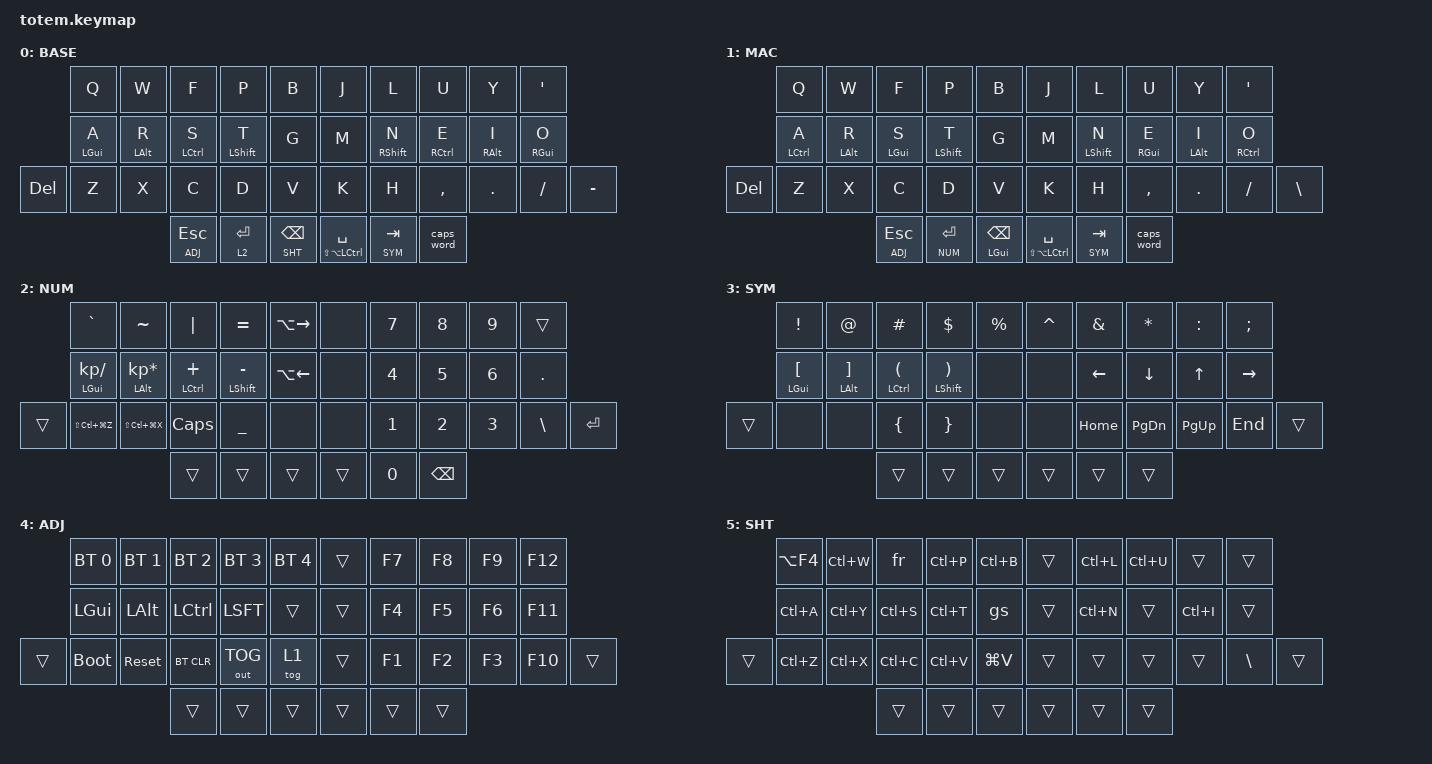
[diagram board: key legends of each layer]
//
//                                                        ▀▀▀▀▀     ▀▀▀▀▀          ▀▀█▀▀
//                                                        ▄▀▀▀▄  ▄  ▄▀▀▀▄  ▄  ▄▀▀▀▄  █  ▄▀▀▀▄
//                                                        █   █  █  █   █  █  █   █  █  █   █
//                                                         ▀▀▀   █   ▀▀▀   █   ▀▀▀   ▀   ▀▀▀
//                                                               █      ▄▄▄█▄▄▄    █   █  
//                                                               ▀      █  █  █     █▄█
//                                                             ▀▀▀▀▀    █  █  █      ▀
//                                                                      ▀  ▀  ▀
//
// ▄▄▄▄▄▄▄▄▄▄▄▄▄▄▄▄▄▄▄▄▄▄▄▄▄▄▄▄▄▄▄▄▄▄▄▄▄▄▄▄▄▄▄▄▄▄▄▄▄▄▄▄▄▄▄▄▄▄▄▄▄▄▄▄▄▄▄▄▄▄▄▄▄▄▄▄▄▄▄▄▄▄▄▄▄▄▄▄▄▄▄▄▄▄▄▄▄▄▄▄▄▄▄▄▄▄▄▄▄▄▄▄▄▄▄▄▄▄▄▄▄▄▄▄▄▄▄▄▄▄▄▄▄▄▄▄▄▄▄▄▄▄▄▄▄▄▄▄▄

#include <behaviors.dtsi>
#include <dt-bindings/zmk/bt.h>
#include <dt-bindings/zmk/keys.h>
#include <dt-bindings/zmk/outputs.h>

#define BASE 0
#define MAC 1
#define NUM  2
#define SYM  3
#define ADJ  4
#define SHT 5

&mt {
    flavor = "tap-preferred";
    tapping-term-ms = <200>;
    quick-tap-ms = <125>;
};

/ {
    ht: hold-tap {
        compatible = "zmk,behavior-hold-tap";
        label = "hold_tap";
        #binding-cells = <2>;
        flavor = "tap-preferred";
        tapping-term-ms = <200>;
        quick-tap-ms = <125>;
        bindings = <&kp>, <&kp>;
    };

    ltq: layer_tap_quick {
        compatible = "zmk,behavior-hold-tap";
        label = "LAYER_TAP_QUICK";
        #binding-cells = <2>;
        flavor = "balanced";
        tapping-term-ms = <200>;
        quick-tap-ms = <175>;
        bindings = <&mo>, <&kp>;
    };

    meh: meh_kp {
        compatible = "zmk,behavior-hold-tap";
        label = "MEH_KP";
        #binding-cells = <2>;
        flavor = "tap-preferred";
        tapping-term-ms = <200>;
        quick-tap-ms = <175>;
        bindings = <&sk>, <&kp>;
    };

    //tap dance

    gs: tap_dance_0 {
        compatible = "zmk,behavior-tap-dance";
        label = "GREENSHOT";
        #binding-cells = <0>;
        tapping-term-ms = <200>;
        bindings = <&kp PSCRN>, <&kp LA(PSCRN)>;
    };

    fr: tap_dance_1 {
        compatible = "zmk,behavior-tap-dance";
        label = "FIND_REPLACE";
        #binding-cells = <0>;
        tapping-term-ms = <200>;
        bindings = <&kp LC(F)>, <&kp LC(H)>;
    };

    td_lt: tap_dance_layer_tap {
        compatible = "zmk,behavior-tap-dance";
        #binding-cells = <0>;
        tapping-term-ms = <200>;
        bindings = <&lt NUM RET>, <&kp LCTRL>;
    };

    combos {
        compatible = "zmk,combos";

        combo_esc {
            timeout-ms = <50>;
            key-positions = <0 1>;
            bindings = <&kp ESC>;
        };

        combo_tab {
            timeout-ms = <50>;
            key-positions = <10 11>;
            bindings = <&kp TAB>;
        };

        combo_del {
            timeout-ms = <50>;
            key-positions = <21 22>;
            bindings = <&kp DEL>;
        };

        combo_space {
            timeout-ms = <50>;
            key-positions = <23 24>;
            bindings = <&kp SPACE>;
        };

        combo_capsWord {
            timeout-ms = <50>;
            key-positions = <10 19>;
            bindings = <&caps_word>;
        };
    };

    behaviors {
    };

    keymap {
        compatible = "zmk,keymap";

        // ▄▄▄▄▄▄▄▄▄▄▄▄▄▄▄▄▄▄▄▄▄▄▄▄▄▄▄▄▄▄▄▄▄▄▄▄▄▄▄▄▄▄▄▄▄▄▄▄▄▄▄▄▄▄▄▄▄▄▄▄▄▄▄▄▄▄▄▄▄▄▄▄▄▄▄▄▄▄▄▄▄▄▄▄▄▄▄▄▄▄▄▄▄▄▄▄▄▄▄▄▄▄▄▄▄▄▄▄▄▄▄▄▄▄▄▄▄▄▄▄▄▄▄▄▄▄▄▄▄▄▄▄▄▄▄▄▄▄▄▄▄▄▄▄▄▄▄▄▄

        base_layer {
            // ┏━━━━━━━━━━━━━━━━━━━━━━━━━━━━━━━━━━━━━━━┓

            label = "BASE";

            // ┗━━━━━━━━━━━━━━━━━━━━━━━━━━━━━━━━━━━━━━━┛
            //             ┏━━━━━━━━━━━┳━━━━━━━━━━━┳━━━━━━━━━━━┳━━━━━━━━━━━┳━━━━━━━━━━━┓   ┏━━━━━━━━━━━┳━━━━━━━━━━━┳━━━━━━━━━━━┳━━━━━━━━━━━┳━━━━━━━━━━━┓
            //             ┃     Q     ┃     W     ┃     F     ┃     P     ┃     B     ┃   ┃     J     ┃     L     ┃     U     ┃     Y     ┃     '     ┃
            //             ┣━━━━━━━━━━━╋━━━━━━━━━━━╋━━━━━━━━━━━╋━━━━━━━━━━━╋━━━━━━━━━━━┫   ┣━━━━━━━━━━━╋━━━━━━━━━━━╋━━━━━━━━━━━╋━━━━━━━━━━━╋━━━━━━━━━━━┫
            //             ┃     A     ┃     R     ┃     S     ┃     T     ┃     G     ┃   ┃     M     ┃     N     ┃     E     ┃     I     ┃     O     ┃
            // ┏━━━━━━━━━━━╋━━━━━━━━━━━╋━━━━━━━━━━━╋━━━━━━━━━━━╋━━━━━━━━━━━╋━━━━━━━━━━━┫   ┣━━━━━━━━━━━╋━━━━━━━━━━━╋━━━━━━━━━━━╋━━━━━━━━━━━╋━━━━━━━━━━━╋━━━━━━━━━━━┓
            // ┃   DEL     ┃     Z     ┃     X     ┃     C     ┃     D     ┃     V     ┃   ┃     K     ┃     H     ┃     ,     ┃     .     ┃     /     ┃     \     ┃
            // ┗━━━━━━━━━━━┻━━━━━━━━━━━┻━━━━━━━━━━━╋━━━━━━━━━━━╋━━━━━━━━━━━╋━━━━━━━━━━━┫   ┣━━━━━━━━━━━╋━━━━━━━━━━━╋━━━━━━━━━━━╋━━━━━━━━━━━┻━━━━━━━━━━━┻━━━━━━━━━━━┛
            //                                     ┃    ESC    ┃    ENTER  ┃    BSPC   ┃   ┃   SPACE   ┃    TAB    ┃  CapsWord ┃
            //                                     ┗━━━━━━━━━━━┻━━━━━━━━━━━┻━━━━━━━━━━━┛   ┗━━━━━━━━━━━┻━━━━━━━━━━━┻━━━━━━━━━━━┛

            bindings = <
         &kp Q           &kp W           &kp F        &kp P             &kp B            &kp J                     &kp L              &kp U        &kp Y            &kp SQT
         &ht LEFT_GUI A  &ht LEFT_ALT R  &ht LCTRL S  &ht LEFT_SHIFT T  &kp G            &kp M                     &ht RIGHT_SHIFT N  &ht RCTRL E  &ht RIGHT_ALT I  &ht RIGHT_GUI O
&kp DEL  &kp Z           &kp X           &kp C        &kp D             &kp V            &kp K                     &kp H              &kp COMMA    &kp DOT          &kp FSLH         &kp MINUS
                                         &lt ADJ ESC  &lt 2 RET         &ltq SHT BSPC    &meh LS(LA(LCTRL)) SPACE  &lt SYM TAB        &caps_word
            >;
        };

        // ▄▄▄▄▄▄▄▄▄▄▄▄▄▄▄▄▄▄▄▄▄▄▄▄▄▄▄▄▄▄▄▄▄▄▄▄▄▄▄▄▄▄▄▄▄▄▄▄▄▄▄▄▄▄▄▄▄▄▄▄▄▄▄▄▄▄▄▄▄▄▄▄▄▄▄▄▄▄▄▄▄▄▄▄▄▄▄▄▄▄▄▄▄▄▄▄▄▄▄▄▄▄▄▄▄▄▄▄▄▄▄▄▄▄▄▄▄▄▄▄▄▄▄▄▄▄▄▄▄▄▄▄▄▄▄▄▄▄▄▄▄▄▄▄▄▄▄▄▄

        mac_layer {
            // ┏━━━━━━━━━━━━━━━━━━━━━━━━━━━━━━━━━━━━━━━┓

            label = "MAC";

            // ┗━━━━━━━━━━━━━━━━━━━━━━━━━━━━━━━━━━━━━━━┛
            //             ┏━━━━━━━━━━━┳━━━━━━━━━━━┳━━━━━━━━━━━┳━━━━━━━━━━━┳━━━━━━━━━━━┓   ┏━━━━━━━━━━━┳━━━━━━━━━━━┳━━━━━━━━━━━┳━━━━━━━━━━━┳━━━━━━━━━━━┓
            //             ┃     Q     ┃     W     ┃     F     ┃     P     ┃     B     ┃   ┃     J     ┃     L     ┃     U     ┃     Y     ┃     '     ┃
            //             ┣━━━━━━━━━━━╋━━━━━━━━━━━╋━━━━━━━━━━━╋━━━━━━━━━━━╋━━━━━━━━━━━┫   ┣━━━━━━━━━━━╋━━━━━━━━━━━╋━━━━━━━━━━━╋━━━━━━━━━━━╋━━━━━━━━━━━┫
            //             ┃     A     ┃     R     ┃     S     ┃     T     ┃     G     ┃   ┃     M     ┃     N     ┃     E     ┃     I     ┃     O     ┃
            // ┏━━━━━━━━━━━╋━━━━━━━━━━━╋━━━━━━━━━━━╋━━━━━━━━━━━╋━━━━━━━━━━━╋━━━━━━━━━━━┫   ┣━━━━━━━━━━━╋━━━━━━━━━━━╋━━━━━━━━━━━╋━━━━━━━━━━━╋━━━━━━━━━━━╋━━━━━━━━━━━┓
            // ┃   DEL     ┃     Z     ┃     X     ┃     C     ┃     D     ┃     V     ┃   ┃     K     ┃     H     ┃     ,     ┃     .     ┃     /     ┃     \     ┃
            // ┗━━━━━━━━━━━┻━━━━━━━━━━━┻━━━━━━━━━━━╋━━━━━━━━━━━╋━━━━━━━━━━━╋━━━━━━━━━━━┫   ┣━━━━━━━━━━━╋━━━━━━━━━━━╋━━━━━━━━━━━╋━━━━━━━━━━━┻━━━━━━━━━━━┻━━━━━━━━━━━┛
            //                                     ┃    ESC    ┃    ENTER  ┃    BSPC   ┃   ┃   SPACE   ┃   TAB     ┃  CapsWord ┃     
            //                                     ┗━━━━━━━━━━━┻━━━━━━━━━━━┻━━━━━━━━━━━┛   ┗━━━━━━━━━━━┻━━━━━━━━━━━┻━━━━━━━━━━━┛

            bindings = <
         &kp Q        &kp W       &kp F        &kp P         &kp B            &kp J                     &kp L         &kp U       &kp Y       &kp SQT
         &mt LCTRL A  &mt LALT R  &mt LGUI S   &mt LSHIFT T  &kp G            &kp M                     &mt LSHIFT N  &mt RGUI E  &mt LALT I  &mt RCTRL O
&kp DEL  &kp Z        &kp X       &kp C        &kp D         &kp V            &kp K                     &kp H         &kp COMMA   &kp DOT     &kp FSLH     &kp BSLH
                                  &lt ADJ ESC  &lt NUM RET   &mt LGUI BSPC    &meh LS(LA(LCTRL)) SPACE  &lt SYM TAB   &caps_word
            >;
        };

        // ▄▄▄▄▄▄▄▄▄▄▄▄▄▄▄▄▄▄▄▄▄▄▄▄▄▄▄▄▄▄▄▄▄▄▄▄▄▄▄▄▄▄▄▄▄▄▄▄▄▄▄▄▄▄▄▄▄▄▄▄▄▄▄▄▄▄▄▄▄▄▄▄▄▄▄▄▄▄▄▄▄▄▄▄▄▄▄▄▄▄▄▄▄▄▄▄▄▄▄▄▄▄▄▄▄▄▄▄▄▄▄▄▄▄▄▄▄▄▄▄▄▄▄▄▄▄▄▄▄▄▄▄▄▄▄▄▄▄▄▄▄▄▄▄▄▄▄▄▄

        num_layer {
            // ┏━━━━━━━━━━━━━━━━━━━━━━━━━━━━━━━━━━━━━━━┓

            label = "NUM";

            // ┗━━━━━━━━━━━━━━━━━━━━━━━━━━━━━━━━━━━━━━━┛

            bindings = <
        &kp GRAVE           &kp TILDE             &kp PIPE        &kp EQUAL         &kp LA(RIGHT)    &none   &kp N7  &kp N8         &kp N9  &trans
        &ht LGUI KP_DIVIDE  &ht LALT KP_MULTIPLY  &ht LCTRL PLUS  &ht LSHIFT MINUS  &kp LA(LEFT)     &none   &kp N4  &kp N5         &kp N6  &kp DOT
&trans  &kp LS(LC(LG(Z)))   &kp LS(LC(LG(X)))     &kp CAPS        &kp UNDER         &none            &none   &kp N1  &kp N2         &kp N3  &kp BACKSLASH  &kp RET
                                                  &trans          &trans            &trans           &trans  &kp N0  &kp BACKSPACE
            >;
        };

        // ▄▄▄▄▄▄▄▄▄▄▄▄▄▄▄▄▄▄▄▄▄▄▄▄▄▄▄▄▄▄▄▄▄▄▄▄▄▄▄▄▄▄▄▄▄▄▄▄▄▄▄▄▄▄▄▄▄▄▄▄▄▄▄▄▄▄▄▄▄▄▄▄▄▄▄▄▄▄▄▄▄▄▄▄▄▄▄▄▄▄▄▄▄▄▄▄▄▄▄▄▄▄▄▄▄▄▄▄▄▄▄▄▄▄▄▄▄▄▄▄▄▄▄▄▄▄▄▄▄▄▄▄▄▄▄▄▄▄▄▄▄▄▄▄▄▄▄▄▄

        sym_layer {
            // ┏━━━━━━━━━━━━━━━━━━━━━━━━━━━━━━━━━━━━━━━┓

            label = "SYM";

            // ┗━━━━━━━━━━━━━━━━━━━━━━━━━━━━━━━━━━━━━━━┛

            bindings = <
        &kp EXCL               &kp AT                  &kp HASH                    &kp DLLR                      &kp PRCNT    &kp CARET  &kp AMPS        &kp ASTRK       &kp COLON     &kp SEMI
        &mt LGUI LEFT_BRACKET  &mt LALT RIGHT_BRACKET  &mt LCTRL LEFT_PARENTHESIS  &mt LSHIFT RIGHT_PARENTHESIS  &none        &none      &kp LEFT_ARROW  &kp DOWN_ARROW  &kp UP_ARROW  &kp RIGHT_ARROW
&trans  &none                  &none                   &kp LBRC                    &kp RBRC                      &none        &none      &kp HOME        &kp PG_DN       &kp PG_UP     &kp END          &trans
                                                       &trans                      &trans                        &trans       &trans     &trans          &trans
            >;
        };

        // ▄▄▄▄▄▄▄▄▄▄▄▄▄▄▄▄▄▄▄▄▄▄▄▄▄▄▄▄▄▄▄▄▄▄▄▄▄▄▄▄▄▄▄▄▄▄▄▄▄▄▄▄▄▄▄▄▄▄▄▄▄▄▄▄▄▄▄▄▄▄▄▄▄▄▄▄▄▄▄▄▄▄▄▄▄▄▄▄▄▄▄▄▄▄▄▄▄▄▄▄▄▄▄▄▄▄▄▄▄▄▄▄▄▄▄▄▄▄▄▄▄▄▄▄▄▄▄▄▄▄▄▄▄▄▄▄▄▄▄▄▄▄▄▄▄▄▄▄▄

        adjust_layer {
            // ┏━━━━━━━━━━━━━━━━━━━━━━━━━━━━━━━━━━━━━━━┓

            label = "ADJ";

            // ┗━━━━━━━━━━━━━━━━━━━━━━━━━━━━━━━━━━━━━━━┛
            //             ┏━━━━━━━━━━━┳━━━━━━━━━━━┳━━━━━━━━━━━┳━━━━━━━━━━━┳━━━━━━━━━━━┓   ┏━━━━━━━━━━━┳━━━━━━━━━━━┳━━━━━━━━━━━┳━━━━━━━━━━━┳━━━━━━━━━━━┓
            //             ┃ PROFILE 0 ┃ PROFILE 1 ┃ PROFILE 2 ┃ PROFILE 3 ┃ PROFILE 4 ┃   ┃           ┃    F7     ┃    F8     ┃    F9     ┃    F12    ┃
            //             ┣━━━━━━━━━━━╋━━━━━━━━━━━╋━━━━━━━━━━━╋━━━━━━━━━━━╋━━━━━━━━━━━┫   ┣━━━━━━━━━━━╋━━━━━━━━━━━╋━━━━━━━━━━━╋━━━━━━━━━━━╋━━━━━━━━━━━┫
            //             ┃   WIN     ┃   ALT     ┃  CTRL     ┃   SHIFT   ┃  	       ┃   ┃           ┃    F4     ┃    F5     ┃    F6     ┃    F11    ┃
            // ┏━━━━━━━━━━━╋━━━━━━━━━━━╋━━━━━━━━━━━╋━━━━━━━━━━━╋━━━━━━━━━━━╋━━━━━━━━━━━┫   ┣━━━━━━━━━━━╋━━━━━━━━━━━╋━━━━━━━━━━━╋━━━━━━━━━━━╋━━━━━━━━━━━╋━━━━━━━━━━━┓
            // ┃           ┃ BOOTLOAD  ┃  RESET    ┃  BT CLEAR ┃  OUT TOG  ┃  MAC TOG  ┃   ┃           ┃    F1     ┃    F2     ┃    F3     ┃    F10    ┃           ┃
            // ┗━━━━━━━━━━━┻━━━━━━━━━━━┻━━━━━━━━━━━╋━━━━━━━━━━━╋━━━━━━━━━━━╋━━━━━━━━━━━┫   ┣━━━━━━━━━━━╋━━━━━━━━━━━╋━━━━━━━━━━━╋━━━━━━━━━━━┻━━━━━━━━━━━┻━━━━━━━━━━━┛
            //                                     ┃           ┃           ┃           ┃   ┃           ┃           ┃           ┃
            //                                     ┗━━━━━━━━━━━┻━━━━━━━━━━━┻━━━━━━━━━━━┛   ┗━━━━━━━━━━━┻━━━━━━━━━━━┻━━━━━━━━━━━┛

            bindings = <
        &bt BT_SEL 0  &bt BT_SEL 1  &bt BT_SEL 2  &bt BT_SEL 3  &bt BT_SEL 4    &trans  &kp F7  &kp F8  &kp F9  &kp F12
        &kp LGUI      &kp LALT      &kp LCTL      &kp LSFT      &trans          &trans  &kp F4  &kp F5  &kp F6  &kp F11
&trans  &bootloader   &sys_reset    &bt BT_CLR    &out OUT_TOG  &tog 1          &trans  &kp F1  &kp F2  &kp F3  &kp F10  &trans
                                    &trans        &trans        &trans          &trans  &trans  &trans
            >;
        };

        // ▄▄▄▄▄▄▄▄▄▄▄▄▄▄▄▄▄▄▄▄▄▄▄▄▄▄▄▄▄▄▄▄▄▄▄▄▄▄▄▄▄▄▄▄▄▄▄▄▄▄▄▄▄▄▄▄▄▄▄▄▄▄▄▄▄▄▄▄▄▄▄▄▄▄▄▄▄▄▄▄▄▄▄▄▄▄▄▄▄▄▄▄▄▄▄▄▄▄▄▄▄▄▄▄▄▄▄▄▄▄▄▄▄▄▄▄▄▄▄▄▄▄▄▄▄▄▄▄▄▄▄▄▄▄▄▄▄▄▄▄▄▄▄▄▄▄▄▄▄

        shortcut_layer {
            // ┏━━━━━━━━━━━━━━━━━━━━━━━━━━━━━━━━━━━━━━━┓

            label = "SHT";

            // ┗━━━━━━━━━━━━━━━━━━━━━━━━━━━━━━━━━━━━━━━┛          

            bindings = <
        &kp LA(F4)  &kp LC(W)  &fr        &kp LC(P)  &kp LC(B)    &trans  &kp LC(L)  &kp LC(U)  &trans     &trans
        &kp LC(A)   &kp LC(Y)  &kp LC(S)  &kp LC(T)  &gs          &trans  &kp LC(N)  &trans     &kp LC(I)  &trans
&trans  &kp LC(Z)   &kp LC(X)  &kp LC(C)  &kp LC(V)  &kp LG(V)    &trans  &trans     &trans     &trans     &kp BSLH  &trans
                               &trans     &trans     &trans       &trans  &trans     &trans
            >;
        };
    };
};
